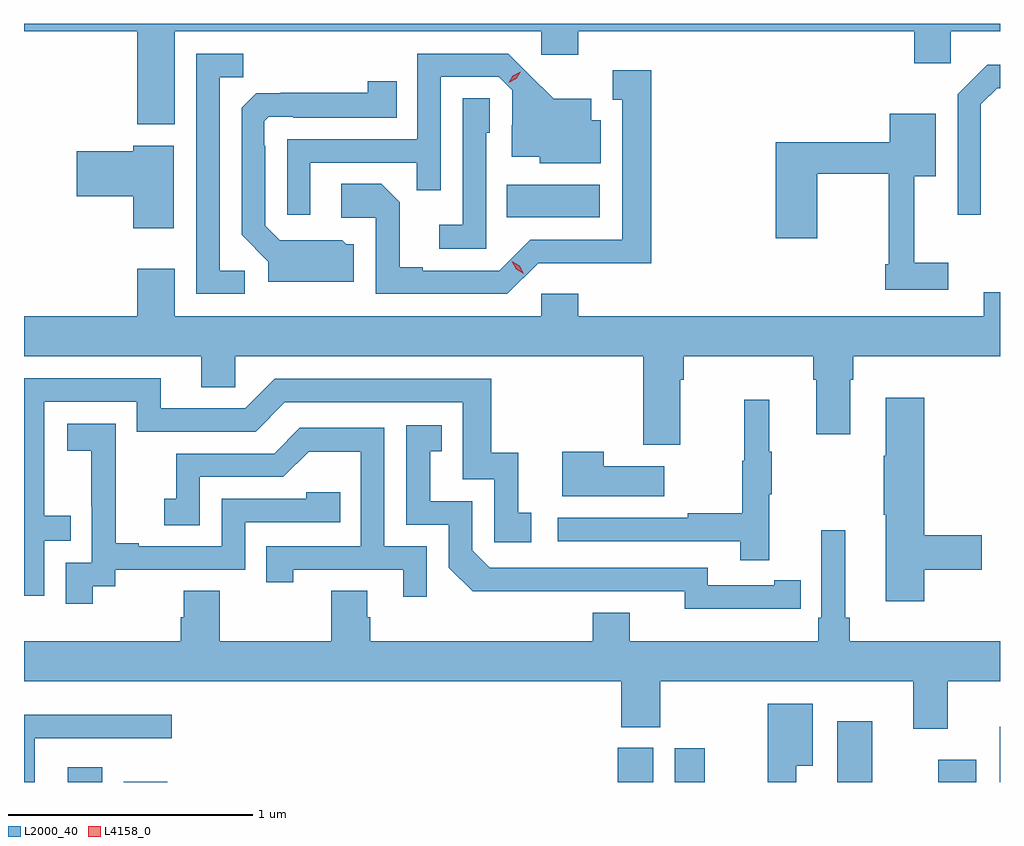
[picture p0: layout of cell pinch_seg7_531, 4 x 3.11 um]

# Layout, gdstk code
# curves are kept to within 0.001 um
import gdstk
lib = gdstk.Library(unit=1e-6, precision=1e-09)
def R(c, l, rs):  # rectangles x0, y0, x1, y1
    for r in rs: c.add(gdstk.rectangle(r[:2], r[2:], *l))
def P(c, l, *ps):  # polygons
    for p in ps: c.add(gdstk.Polygon(p, *l))
L2000_40 = (2000, 40)
L4158_0 = (4158, 0)

pinch_seg7_531 = lib.new_cell('pinch_seg7_531')
R(pinch_seg7_531, L2000_40, [(145.337,1078.79,145.477,1078.852), (145.565,1078.79,145.744,1078.792), (147.59,1078.79,147.736,1078.932), (147.824,1078.79,147.946,1078.93), (148.49,1078.79,148.633,1079.041), (148.904,1078.79,149.059,1078.882), (149.156,1078.79,149.157,1079.018), (147.136,1081.106,147.517,1081.24)])
P(pinch_seg7_531, L2000_40, [(145.774,1081.868),(147.276,1081.868),(147.276,1081.773),(147.428,1081.773),(147.428,1081.868),(148.805,1081.868),(148.805,1081.737),(148.956,1081.737),(148.956,1081.868),(149.157,1081.868),(149.157,1081.9),(145.157,1081.9),(145.157,1081.868),(145.622,1081.868),(145.622,1081.488),(145.774,1081.488)],
  [(146.062,1080.888),(145.959,1080.888),(145.959,1081.681),(146.055,1081.681),(146.055,1081.776),(145.863,1081.776),(145.863,1080.792),(146.062,1080.792)],
  [(146.331,1081.329),(146.767,1081.329),(146.767,1081.216),(146.865,1081.216),(146.865,1081.683),(147.102,1081.683),(147.159,1081.626),(147.159,1081.484),(147.155,1081.484),(147.155,1081.355),(147.27,1081.355),(147.27,1081.328),(147.52,1081.328),(147.52,1081.504),(147.481,1081.504),(147.481,1081.591),(147.329,1081.591),(147.142,1081.776),(146.769,1081.776),(146.769,1081.425),(146.235,1081.425),(146.235,1081.116),(146.331,1081.116)],
  [(149.079,1081.569),(149.145,1081.635),(149.157,1081.635),(149.157,1081.732),(149.104,1081.732),(148.983,1081.611),(148.983,1081.116),(149.079,1081.116)],
  [(147.264,1080.918),(147.727,1080.917),(147.727,1081.708),(147.569,1081.708),(147.569,1081.587),(147.608,1081.587),(147.608,1081.014),(147.231,1081.014),(147.105,1080.888),(146.791,1080.888),(146.791,1080.901),(146.697,1080.901),(146.697,1081.168),(146.621,1081.244),(146.457,1081.244),(146.457,1081.104),(146.598,1081.104),(146.598,1080.792),(147.138,1080.792)],
  [(146.509,1080.996),(146.478,1080.996),(146.462,1081.012),(146.205,1081.011),(146.145,1081.071),(146.145,1081.4),(146.142,1081.4),(146.142,1081.5),(146.16,1081.518),(146.26,1081.518),(146.26,1081.515),(146.684,1081.515),(146.684,1081.663),(146.566,1081.663),(146.566,1081.616),(146.108,1081.615),(146.049,1081.556),(146.049,1081.034),(146.159,1080.924),(146.159,1080.842),(146.509,1080.842)],
  [(147.051,1081.452),(147.066,1081.452),(147.066,1081.595),(146.955,1081.595),(146.955,1081.075),(146.859,1081.075),(146.859,1080.978),(147.051,1080.978)],
  [(148.945,1080.919),(148.805,1080.919),(148.805,1081.274),(148.894,1081.274),(148.894,1081.531),(148.706,1081.531),(148.706,1081.414),(148.238,1081.414),(148.238,1081.02),(148.408,1081.02),(148.408,1081.285),(148.702,1081.285),(148.702,1080.913),(148.687,1080.913),(148.687,1080.81),(148.945,1080.81)],
  [(145.771,1081.399),(145.604,1081.399),(145.604,1081.376),(145.374,1081.376),(145.374,1081.193),(145.604,1081.193),(145.604,1081.062),(145.771,1081.062)],
  [(147.847,1080.44),(147.86,1080.44),(147.86,1080.536),(148.391,1080.536),(148.391,1080.44),(148.403,1080.44),(148.403,1080.216),(148.543,1080.216),(148.543,1080.44),(148.556,1080.44),(148.556,1080.536),(149.157,1080.536),(149.157,1080.798),(149.09,1080.798),(149.09,1080.7),(147.428,1080.7),(147.428,1080.793),(147.276,1080.793),(147.276,1080.7),(145.774,1080.7),(145.774,1080.895),(145.622,1080.895),(145.622,1080.7),(145.157,1080.7),(145.157,1080.536),(145.883,1080.536),(145.883,1080.409),(146.022,1080.409),(146.022,1080.536),(147.695,1080.536),(147.695,1080.174),(147.847,1080.174)],
  [(145.239,1079.781),(145.349,1079.781),(145.349,1079.882),(145.239,1079.882),(145.239,1080.351),(145.62,1080.351),(145.62,1080.228),(146.106,1080.228),(146.226,1080.348),(146.955,1080.348),(146.955,1080.033),(147.084,1080.033),(147.084,1079.775),(147.235,1079.775),(147.235,1079.895),(147.182,1079.895),(147.182,1080.142),(147.071,1080.142),(147.071,1080.444),(146.184,1080.444),(146.064,1080.324),(145.717,1080.324),(145.717,1080.447),(145.157,1080.447),(145.157,1079.556),(145.239,1079.556)],
  [(148.847,1079.662),(149.083,1079.662),(149.083,1079.804),(148.847,1079.804),(148.847,1080.367),(148.688,1080.367),(148.688,1080.128),(148.681,1080.128),(148.681,1079.887),(148.688,1079.887),(148.688,1079.532),(148.847,1079.532)],
  [(148.211,1079.971),(148.222,1079.971),(148.222,1080.145),(148.211,1080.145),(148.211,1080.358),(148.108,1080.358),(148.108,1080.108),(148.101,1080.108),(148.101,1079.894),(147.877,1079.894),(147.877,1079.874),(147.345,1079.874),(147.345,1079.778),(148.093,1079.778),(148.093,1079.7),(148.211,1079.7)],
  [(145.438,1079.593),(145.53,1079.593),(145.53,1079.661),(146.064,1079.661),(146.064,1079.856),(146.453,1079.856),(146.453,1079.979),(146.313,1079.979),(146.313,1079.952),(145.968,1079.952),(145.968,1079.757),(145.627,1079.757),(145.627,1079.77),(145.532,1079.77),(145.532,1080.053),(145.533,1080.053),(145.533,1080.259),(145.335,1080.259),(145.335,1080.149),(145.433,1080.149),(145.433,1079.921),(145.434,1079.921),(145.434,1079.691),(145.329,1079.691),(145.329,1079.523),(145.438,1079.523)],
  [(148.232,1079.502),(148.34,1079.502),(148.34,1079.618),(148.232,1079.618),(148.232,1079.598),(147.96,1079.598),(147.96,1079.67),(147.066,1079.67),(146.994,1079.742),(146.994,1079.943),(146.821,1079.943),(146.821,1080.147),(146.87,1080.147),(146.87,1080.253),(146.724,1080.253),(146.724,1079.847),(146.898,1079.847),(146.898,1079.67),(146.996,1079.573),(147.864,1079.574),(147.864,1079.501)],
  [(146.808,1079.757),(146.634,1079.757),(146.634,1080.243),(146.288,1080.243),(146.183,1080.138),(145.78,1080.138),(145.78,1079.953),(145.731,1079.953),(145.731,1079.844),(145.878,1079.844),(145.878,1080.042),(146.22,1080.042),(146.324,1080.146),(146.538,1080.146),(146.538,1079.757),(146.149,1079.757),(146.149,1079.61),(146.26,1079.61),(146.26,1079.661),(146.711,1079.661),(146.711,1079.55),(146.808,1079.55)],
  [(147.781,1080.085),(147.533,1080.085),(147.533,1080.145),(147.362,1080.145),(147.362,1079.963),(147.781,1079.963)],
  [(148.942,1079.204),(149.157,1079.204),(149.157,1079.368),(148.541,1079.368),(148.541,1079.464),(148.522,1079.464),(148.522,1079.824),(148.425,1079.824),(148.425,1079.464),(148.412,1079.464),(148.412,1079.368),(147.64,1079.368),(147.64,1079.485),(147.488,1079.485),(147.488,1079.368),(146.576,1079.368),(146.576,1079.466),(146.563,1079.466),(146.563,1079.576),(146.416,1079.576),(146.416,1079.368),(145.959,1079.368),(145.959,1079.576),(145.811,1079.576),(145.811,1079.466),(145.799,1079.466),(145.799,1079.368),(145.157,1079.368),(145.157,1079.204),(147.605,1079.204),(147.605,1079.017),(147.765,1079.017),(147.765,1079.204),(148.802,1079.204),(148.802,1079.01),(148.942,1079.01)],
  [(148.321,1078.859),(148.39,1078.859),(148.39,1079.113),(148.205,1079.113),(148.205,1078.79),(148.321,1078.79)],
  [(145.201,1078.971),(145.762,1078.971),(145.762,1079.068),(145.157,1079.068),(145.157,1078.79),(145.201,1078.79)])
P(pinch_seg7_531, L4158_0, [(147.206,1080.875),(147.174,1080.893),(147.156,1080.926),(147.156,1080.926),(147.156,1080.926),(147.188,1080.907),(147.206,1080.875),(147.206,1080.875)],
  [(147.144,1081.658),(147.144,1081.658),(147.161,1081.687),(147.192,1081.703),(147.192,1081.703),(147.192,1081.702),(147.175,1081.673),(147.144,1081.658)])

lib.write_gds('pinch_seg7_531.gds')
